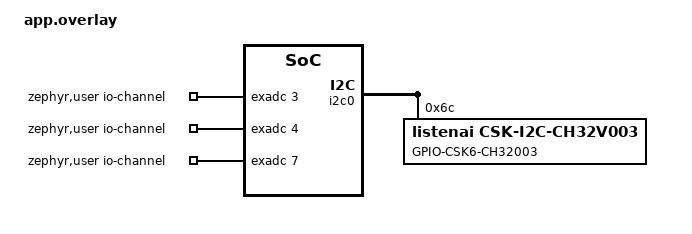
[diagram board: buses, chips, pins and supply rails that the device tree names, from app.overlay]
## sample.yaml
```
tests:
  sample.board.csk6.driver.adc:
    platform_allow: csk6011a_nano
    tags: csk6
    harness: console
    timeout: 10
    harness_config:
      fixture: ch32v003
      type: one_line
      regex:
        - "adc\\(\\d*\\)\\=\\s\\d*\\smV"
```

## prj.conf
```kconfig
CONFIG_ADC=y
CONFIG_LOG=y
# CONFIG_LOG_MODE_MINIMAL=y
CONFIG_ADC_CSK6_CH32V003=y
CONFIG_I2C_CSK6=y
CONFIG_I2C=y
CONFIG_GPIO_CSK6_CH32V003=y
CONFIG_GPIO=y
```

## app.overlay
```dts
&i2c0 {
    status = "okay";
    pinctrl-0 = <&pinctrl_i2c0_scl_default &pinctrl_i2c0_sda_default>;
    pinctrl-names = "default";
    csk6_ch32v003: csk6_ch32v003@6c {
        /**
         * Please make sure that the external MCU firmware has been loaded
         * SCL --> external MCU PC5
         * SDA --> external MCU PC6
         */
        compatible = "listenai,csk-i2c-ch32v003";
        reg = <0x6c>;
        label = "GPIO-CSK6-CH32003";
        status = "okay";
        #address-cells = <1>;
        #size-cells = <0>;

        exadc: adc@0 {
            /**
             * external adc channel map
             *
             * CH0 --> PA2
             * CH1 --> PA1
             * CH2 --> PC4
             * CH3 --> PD2
             * CH4 --> PD3
             * CH5 --> PD5
             * CH6 --> PD6
             * CH7 --> PD4
             *
             */

            compatible = "listenai,csk-adc-ch32v003";
            label = "EXADC";
            reg = <0>;
            status = "okay";
            #io-channel-cells = <1>;
        };

        /* CH32V003-GPIOA */
        exgpioa: gpio@0 {
            compatible = "listenai,csk-gpio-ch32003-port";
            label = "EX-GPIOA";
            reg = <0x00>;
            status = "okay";
            ngpios = <8>;
            #gpio-cells = <2>;
            gpio-controller;
            pin_mask = <0x00>;
        };

        /* CH32V003-GPIOB */
        exgpiob: gpio@1 {
            compatible = "listenai,csk-gpio-ch32003-port";
            label = "EX-GPIOB";
            reg = <0x01>;
            status = "okay";
            ngpios = <8>;
            #gpio-cells = <2>;
            gpio-controller;
            pin_mask = <0x00>;
        };

        /* CH32V003-GPIOC */
        exgpioc: gpio@2 {
            compatible = "listenai,csk-gpio-ch32003-port";
            label = "EX-GPIOC";
            reg = <0x02>;
            status = "okay";
            ngpios = <8>;
            #gpio-cells = <2>;
            gpio-controller;
            pin_mask = <0x00>;
        };

        /* CH32V003-GPIOD */
        exgpiod: gpio@3 {
            compatible = "listenai,csk-gpio-ch32003-port";
            label = "EX-GPIOD";
            reg = <0x03>;
            status = "okay";
            ngpios = <8>;
            #gpio-cells = <2>;
            gpio-controller;
            pin_mask = <0x00>;
        };
    };
};


/ {
    /**
    *  PC2<---->PD2
    *  PC3<---->PD3
    *  PC4<---->PD4
    * 
    * external adc channel map
    *
    * CH0 --> PA2
    * CH1 --> PA1
    * CH2 --> PC4
    * CH3 --> PD2
    * CH4 --> PD3
    * CH5 --> PD5
    * CH6 --> PD6
    * CH7 --> PD4
    *
    */

    zephyr,user {
        io-channels = <&exadc 3>, <&exadc 4>, <&exadc 7>;
    };

    aliases {
        csk6-exmcu = &csk6_ch32v003;
    };
};
```

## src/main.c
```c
/*
 * Copyright (c) 2023 Anhui(Shenzhen) Listenai Co., Ltd.
 *
 * SPDX-License-Identifier: Apache-2.0
 */

#include <drivers/adc.h>
#include <sys/printk.h>
#include <zephyr.h>
#include <drivers/gpio.h>

#if !DT_NODE_EXISTS(DT_PATH(zephyr_user)) || !DT_NODE_HAS_PROP(DT_PATH(zephyr_user), io_channels)
#error "No suitable devicetree overlay specified"
#endif

#define ADC_NUM_CHANNELS DT_PROP_LEN(DT_PATH(zephyr_user), io_channels)
#define ADC_NODE DT_PHANDLE(DT_PATH(zephyr_user), io_channels)

/* Common settings supported by most ADCs */
#define ADC_RESOLUTION 10
#define ADC_GAIN       ADC_GAIN_1
#define ADC_REFERENCE  ADC_REF_INTERNAL

/* Get the numbers of up to two channels */
static uint8_t channel_ids[ADC_NUM_CHANNELS] = {
	DT_IO_CHANNELS_INPUT_BY_IDX(DT_PATH(zephyr_user), 0),
	DT_IO_CHANNELS_INPUT_BY_IDX(DT_PATH(zephyr_user), 1),
	DT_IO_CHANNELS_INPUT_BY_IDX(DT_PATH(zephyr_user), 2),
};

static int16_t sample_buffer[ADC_NUM_CHANNELS];

struct adc_channel_cfg channel_cfg = {
	.gain = ADC_GAIN_1,
	.reference = ADC_REFERENCE,
	.channel_id = 0,
};

struct adc_sequence sequence = {
	/* individual channels will be added below */
	.channels = 0,
	.buffer = sample_buffer,
	/* buffer size in bytes, not number of samples */
	.buffer_size = sizeof(sample_buffer),
	.resolution = ADC_RESOLUTION,
};

void main(void)
{
	int err;
	const struct device *dev_adc = DEVICE_DT_GET(ADC_NODE);
	const struct device *dev_gpio = DEVICE_DT_GET(DT_NODELABEL(exgpioc));

	printk("ADC Sample start, ch:%d\n", ADC_NUM_CHANNELS);

	if (!device_is_ready(dev_adc)) {
		printk("ADC device not found\n");
		return;
	}

	if (!device_is_ready(dev_gpio)) {
		printk("dev_gpio device not found\n");
		return;
	}

	gpio_pin_configure(dev_gpio, 2, GPIO_OUTPUT);
	gpio_pin_configure(dev_gpio, 3, GPIO_OUTPUT);
	gpio_pin_configure(dev_gpio, 4, GPIO_OUTPUT);

	/*
	 * Configure channels individually prior to sampling
	 */
	for (uint8_t i = 0; i < ADC_NUM_CHANNELS; i++) {
		channel_cfg.channel_id = channel_ids[i];

		adc_channel_setup(dev_adc, &channel_cfg);

		sequence.channels |= BIT(channel_ids[i]);
	}

	int32_t adc_vref = adc_ref_internal(dev_adc);

	printk("adc_vref %d.\n", adc_vref);
	uint32_t cnt = 0;

	while (1) {
		cnt++;
		printk("\n-----ADC TEST OUTPUT %s-----\n", cnt % 2 == 1 ? "HIGH" : "LOW");
		gpio_pin_set_raw(dev_gpio, 2, cnt % 2 == 1);
		gpio_pin_set_raw(dev_gpio, 3, cnt % 2 == 1);
		gpio_pin_set_raw(dev_gpio, 4, cnt % 2 == 1);

		k_msleep(100);

		/*
		 * Read sequence of channels (fails if not supported by MCU)
		 */
		err = adc_read(dev_adc, &sequence);
		if (err != 0) {
			printk("ADC reading failed with error %d.\n", err);
			return;
		}

		uint8_t check = 1;
		for (uint8_t i = 0; i < ADC_NUM_CHANNELS; i++) {
			int32_t raw_value = sample_buffer[i];

			if (adc_vref > 0) {
				/*
				 * Convert raw reading to millivolts if driver
				 * supports reading of ADC reference voltage
				 */
				int32_t mv_value = raw_value;

				adc_raw_to_millivolts(adc_vref, ADC_GAIN_1, ADC_RESOLUTION,
						      &mv_value);
				printk(" adc(%d)= %d mV  ", raw_value, mv_value);

				if (cnt % 2 == 1) {
					check &= mv_value > (adc_vref / 2);
				} else {
					check &= (mv_value < (adc_vref / 2));
				}
			}
		}

		printk("\n");
		if (check) {
			printk("ADC CHECK SUCCESS, %d\n", cnt);
		} else {
			printk("ADC CHECK FAILED\n");
		}

		k_sleep(K_MSEC(1000));
	}
}
```
